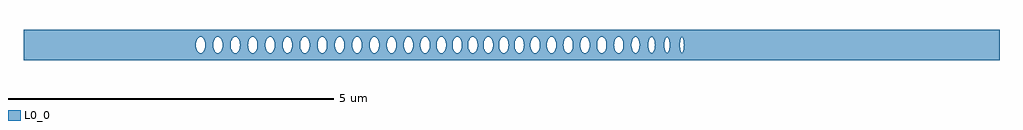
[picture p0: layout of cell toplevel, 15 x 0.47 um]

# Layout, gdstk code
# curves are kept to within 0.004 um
import gdstk
lib = gdstk.Library(unit=1e-6, precision=1e-09)
def P(c, l, *ps):  # polygons
    for p in ps: c.add(gdstk.Polygon(p, *l))
L0_0 = (0, 0)

toplevel = lib.new_cell('toplevel')
P(toplevel, L0_0, [(-4.314,0.032),(-4.306,0.068),(-4.283,0.108),(-4.283,0.234),(-7.5,0.234),(-7.5,-0.016),(-4.851,-0.016),(-4.848,0.039),(-4.835,0.081),(-4.806,0.119),(-4.779,0.128),(-4.752,0.119),(-4.729,0.093),(-4.713,0.054),(-4.707,-0.008),(-4.584,-0.008),(-4.579,0.047),(-4.561,0.093),(-4.538,0.119),(-4.512,0.128),(-4.485,0.119),(-4.465,0.098),(-4.45,0.068),(-4.439,0.008),(-4.444,-0.047),(-4.462,-0.093),(-4.485,-0.119),(-4.512,-0.128),(-4.538,-0.119),(-4.558,-0.098),(-4.573,-0.068),(-4.584,-0.008),(-4.707,-0.008),(-4.713,-0.054),(-4.729,-0.093),(-4.752,-0.119),(-4.779,-0.128),(-4.806,-0.119),(-4.825,-0.098),(-4.84,-0.068),(-4.851,-0.016),(-7.5,-0.016),(-7.5,-0.234),(-4.283,-0.234),(-4.283,-0.108),(-4.312,-0.047),(-4.317,-0.008)],
  [(-4.275,0.115),(-4.244,0.128),(-4.209,0.112),(-4.183,0.068),(-4.172,0),(-4.05,0),(-4.043,0.054),(-4.027,0.093),(-4.004,0.119),(-3.977,0.128),(-3.964,0.125),(-3.938,0.108),(-3.921,0.081),(-3.908,0.039),(-3.905,-0.016),(-3.916,-0.068),(-3.931,-0.098),(-3.95,-0.119),(-3.977,-0.128),(-4.004,-0.119),(-4.027,-0.093),(-4.043,-0.054),(-4.05,0),(-4.172,0),(-4.183,-0.068),(-4.209,-0.112),(-4.244,-0.128),(-4.271,-0.119),(-4.283,-0.108),(-4.283,-0.234),(-3.71,-0.234),(-3.71,-0.128),(-3.737,-0.119),(-3.756,-0.098),(-3.771,-0.068),(-3.782,-0.016),(-3.779,0.039),(-3.766,0.081),(-3.737,0.119),(-3.71,0.128),(-3.71,0.234),(-4.283,0.234),(-4.283,0.108)],
  [(-3.71,0.234),(-3.71,0.128),(-3.683,0.119),(-3.66,0.093),(-3.644,0.054),(-3.638,-0.008),(-3.515,-0.008),(-3.512,0.039),(-3.492,0.093),(-3.469,0.119),(-3.443,0.128),(-3.416,0.119),(-3.396,0.098),(-3.379,0.061),(-3.37,0.008),(-3.375,-0.047),(-3.393,-0.093),(-3.416,-0.119),(-3.443,-0.128),(-3.469,-0.119),(-3.489,-0.098),(-3.504,-0.068),(-3.515,-0.008),(-3.638,-0.008),(-3.644,-0.054),(-3.66,-0.093),(-3.683,-0.119),(-3.71,-0.128),(-3.71,-0.234),(-3.108,-0.234),(-3.108,-0.047),(-3.126,-0.093),(-3.141,-0.112),(-3.162,-0.125),(-3.189,-0.125),(-3.21,-0.112),(-3.225,-0.093),(-3.243,-0.047),(-3.248,-0.008),(-3.246,0.032),(-3.234,0.075),(-3.214,0.108),(-3.189,0.125),(-3.162,0.125),(-3.141,0.112),(-3.126,0.093),(-3.108,0.047),(-3.108,0.234)],
  [(-3.104,-0.016),(-3.108,-0.234),(-2.444,-0.234),(-2.444,0.234),(-3.108,0.234),(-3.108,0.044),(-3.103,0),(-2.981,0),(-2.974,0.054),(-2.958,0.093),(-2.935,0.119),(-2.908,0.128),(-2.882,0.119),(-2.855,0.087),(-2.839,0.039),(-2.836,-0.016),(-2.713,-0.016),(-2.708,0.047),(-2.697,0.081),(-2.68,0.108),(-2.668,0.119),(-2.641,0.128),(-2.614,0.119),(-2.591,0.093),(-2.577,0.061),(-2.569,-0.016),(-2.575,-0.054),(-2.591,-0.093),(-2.606,-0.112),(-2.627,-0.125),(-2.654,-0.125),(-2.68,-0.108),(-2.702,-0.068),(-2.713,-0.016),(-2.836,-0.016),(-2.847,-0.068),(-2.862,-0.098),(-2.882,-0.119),(-2.908,-0.128),(-2.935,-0.119),(-2.958,-0.093),(-2.974,-0.054),(-2.981,0),(-3.103,0)],
  [(-2.443,0.039),(-2.432,0.075),(-2.409,0.112),(-2.387,0.125),(-2.369,0.127),(-2.339,0.112),(-2.315,0.075),(-2.306,0.047),(-2.302,-0.016),(-2.179,-0.016),(-2.177,0.032),(-2.166,0.075),(-2.142,0.112),(-2.107,0.128),(-2.08,0.119),(-2.054,0.087),(-2.038,0.039),(-2.035,-0.016),(-2.046,-0.068),(-2.061,-0.098),(-2.08,-0.119),(-2.107,-0.128),(-2.134,-0.119),(-2.157,-0.093),(-2.171,-0.061),(-2.179,-0.016),(-2.302,-0.016),(-2.306,-0.047),(-2.324,-0.093),(-2.347,-0.119),(-2.374,-0.128),(-2.4,-0.119),(-2.42,-0.098),(-2.444,-0.032),(-2.444,-0.234),(-1.856,-0.234),(-1.856,-0.125),(-1.878,-0.112),(-1.896,-0.087),(-1.915,-0.016),(-1.912,0.039),(-1.899,0.081),(-1.882,0.108),(-1.856,0.125),(-1.856,0.234),(-2.444,0.234)],
  [(-1.847,0.127),(-1.816,0.119),(-1.793,0.093),(-1.777,0.054),(-1.771,-0.016),(-1.655,-0.016),(-1.652,0.039),(-1.641,0.075),(-1.618,0.112),(-1.583,0.128),(-1.556,0.119),(-1.533,0.093),(-1.515,0.047),(-1.51,-0.008),(-1.515,-0.047),(-1.533,-0.093),(-1.556,-0.119),(-1.583,-0.128),(-1.609,-0.119),(-1.629,-0.098),(-1.644,-0.068),(-1.655,-0.016),(-1.771,-0.016),(-1.779,-0.061),(-1.8,-0.103),(-1.829,-0.125),(-1.856,-0.125),(-1.856,-0.234),(-1.278,-0.234),(-1.278,-0.093),(-1.293,-0.112),(-1.314,-0.125),(-1.328,-0.128),(-1.354,-0.119),(-1.386,-0.075),(-1.4,-0.016),(-1.398,0.032),(-1.389,0.068),(-1.363,0.112),(-1.341,0.125),(-1.314,0.125),(-1.293,0.112),(-1.278,0.093),(-1.278,0.234),(-1.856,0.234),(-1.856,0.125)],
  [(-1.258,-0.032),(-1.278,-0.093),(-1.278,-0.234),(-0.663,-0.234),(-0.663,0.234),(-1.278,0.234),(-1.278,0.093),(-1.26,0.047),(-1.255,0),(-1.151,0),(-1.146,0.047),(-1.128,0.093),(-1.105,0.119),(-1.078,0.128),(-1.052,0.119),(-1.025,0.087),(-1.009,0.039),(-1.006,-0.016),(-0.906,-0.016),(-0.901,0.047),(-0.89,0.081),(-0.873,0.108),(-0.861,0.119),(-0.834,0.128),(-0.807,0.119),(-0.784,0.093),(-0.77,0.061),(-0.762,-0.016),(-0.768,-0.054),(-0.784,-0.093),(-0.799,-0.112),(-0.82,-0.125),(-0.847,-0.125),(-0.873,-0.108),(-0.895,-0.068),(-0.906,-0.016),(-1.006,-0.016),(-1.017,-0.068),(-1.032,-0.098),(-1.052,-0.119),(-1.078,-0.128),(-1.105,-0.119),(-1.128,-0.093),(-1.146,-0.047),(-1.151,0),(-1.255,0)],
  [(-0.19,0.016),(-0.177,0.075),(-0.157,0.108),(-0.137,0.123),(-0.137,0.234),(-0.663,0.234),(-0.663,0.039),(-0.652,0.075),(-0.629,0.112),(-0.607,0.125),(-0.58,0.125),(-0.555,0.108),(-0.535,0.075),(-0.526,0.047),(-0.522,-0.016),(-0.428,-0.016),(-0.425,0.039),(-0.412,0.081),(-0.391,0.112),(-0.356,0.128),(-0.329,0.119),(-0.306,0.093),(-0.29,0.054),(-0.283,0),(-0.29,-0.054),(-0.306,-0.093),(-0.329,-0.119),(-0.356,-0.128),(-0.382,-0.119),(-0.402,-0.098),(-0.417,-0.068),(-0.428,-0.016),(-0.522,-0.016),(-0.526,-0.047),(-0.544,-0.093),(-0.567,-0.119),(-0.594,-0.128),(-0.62,-0.119),(-0.64,-0.098),(-0.663,-0.039),(-0.663,-0.234),(-0.137,-0.234),(-0.137,-0.123),(-0.165,-0.098),(-0.18,-0.068),(-0.19,-0.024)],
  [(0.294,0.032),(0.308,0.081),(0.329,0.112),(0.364,0.128),(0.395,0.115),(0.395,0.234),(-0.137,0.234),(-0.137,0.123),(-0.105,0.125),(-0.072,0.098),(-0.051,0.047),(-0.047,-0.016),(0.048,-0.016),(0.051,0.039),(0.064,0.081),(0.085,0.112),(0.12,0.128),(0.147,0.119),(0.17,0.093),(0.188,0.047),(0.193,0),(0.188,-0.047),(0.17,-0.093),(0.147,-0.119),(0.12,-0.128),(0.094,-0.119),(0.074,-0.098),(0.059,-0.068),(0.048,-0.016),(-0.047,-0.016),(-0.057,-0.068),(-0.08,-0.108),(-0.105,-0.125),(-0.137,-0.123),(-0.137,-0.234),(0.395,-0.234),(0.395,-0.115),(0.364,-0.128),(0.338,-0.119),(0.318,-0.098),(0.295,-0.039)],
  [(0.395,0.234),(0.395,0.115),(0.414,0.093),(0.428,0.061),(0.436,-0.008),(0.543,-0.008),(0.546,0.039),(0.566,0.093),(0.589,0.119),(0.615,0.128),(0.642,0.119),(0.665,0.093),(0.683,0.047),(0.688,-0.008),(0.799,-0.008),(0.804,0.047),(0.822,0.093),(0.845,0.119),(0.872,0.128),(0.898,0.119),(0.918,0.098),(0.933,0.068),(0.944,0.008),(0.939,-0.047),(0.921,-0.093),(0.898,-0.119),(0.872,-0.128),(0.845,-0.119),(0.825,-0.098),(0.81,-0.068),(0.799,-0.008),(0.688,-0.008),(0.683,-0.047),(0.665,-0.093),(0.642,-0.119),(0.615,-0.128),(0.589,-0.119),(0.569,-0.098),(0.554,-0.068),(0.543,-0.008),(0.436,-0.008),(0.423,-0.075),(0.395,-0.115),(0.395,-0.234),(1.057,-0.234),(1.057,0.234)],
  [(1.576,0.016),(1.589,0.075),(1.621,0.119),(1.621,0.234),(1.057,0.234),(1.057,0.008),(1.062,0.047),(1.08,0.093),(1.103,0.119),(1.129,0.128),(1.156,0.119),(1.179,0.093),(1.197,0.047),(1.202,-0.008),(1.315,-0.008),(1.32,0.047),(1.338,0.093),(1.361,0.119),(1.387,0.128),(1.414,0.119),(1.434,0.098),(1.449,0.068),(1.46,0.008),(1.455,-0.047),(1.437,-0.093),(1.414,-0.119),(1.387,-0.128),(1.361,-0.119),(1.341,-0.098),(1.326,-0.068),(1.315,-0.008),(1.202,-0.008),(1.191,-0.068),(1.176,-0.098),(1.148,-0.123),(1.116,-0.125),(1.095,-0.112),(1.08,-0.093),(1.062,-0.047),(1.057,-0.008),(1.057,-0.234),(1.621,-0.234),(1.621,-0.119),(1.598,-0.093),(1.584,-0.061)],
  [(1.634,0.125),(1.648,0.128),(1.675,0.119),(1.701,0.087),(1.717,0.039),(1.72,-0.016),(1.844,-0.016),(1.848,0.046),(1.866,0.097),(1.891,0.122),(1.922,0.122),(1.943,0.102),(1.959,0.067),(1.968,-0.016),(1.961,-0.061),(1.949,-0.092),(1.933,-0.114),(1.906,-0.126),(1.883,-0.117),(1.866,-0.097),(1.852,-0.061),(1.844,-0.016),(1.72,-0.016),(1.709,-0.068),(1.687,-0.108),(1.675,-0.119),(1.648,-0.128),(1.621,-0.119),(1.621,-0.234),(2.176,-0.234),(2.176,-0.112),(2.157,-0.124),(2.131,-0.112),(2.111,-0.073),(2.102,-0.023),(2.105,0.046),(2.12,0.095),(2.134,0.115),(2.15,0.124),(2.176,0.112),(2.176,0.234),(1.621,0.234),(1.621,0.119)],
  [(2.205,-0.023),(2.196,-0.073),(2.176,-0.112),(2.176,-0.234),(7.5,-0.234),(7.5,0.234),(2.176,0.234),(2.176,0.112),(2.198,0.066),(2.206,0),(2.348,0),(2.356,0.072),(2.37,0.107),(2.388,0.122),(2.406,0.113),(2.423,0.078),(2.432,-0.008),(2.588,-0.008),(2.594,0.071),(2.608,0.112),(2.618,0.12),(2.634,0.109),(2.649,0.051),(2.652,-0.008),(2.646,-0.071),(2.634,-0.109),(2.622,-0.12),(2.608,-0.112),(2.601,-0.097),(2.588,-0.008),(2.432,-0.008),(2.423,-0.078),(2.413,-0.103),(2.393,-0.122),(2.377,-0.116),(2.362,-0.089),(2.352,-0.052),(2.348,0),(2.206,0)])

lib.write_gds('toplevel.gds')
